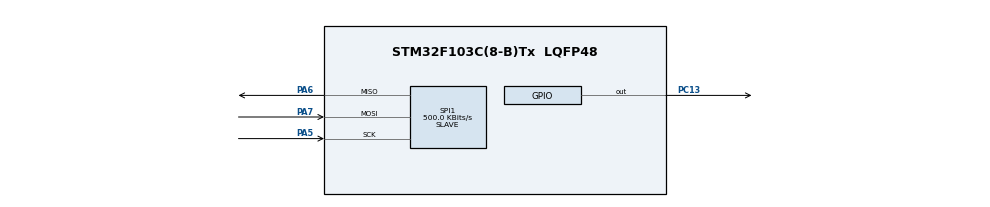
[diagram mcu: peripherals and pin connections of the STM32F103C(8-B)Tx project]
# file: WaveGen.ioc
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Mcu.Family=STM32F1
Mcu.Name=STM32F103C(8-B)Tx
Mcu.Package=LQFP48
NVIC.PriorityGroup=NVIC_PRIORITYGROUP_4
NVIC.TIM3_IRQn=true\:0\:0\:true\:false\:true
PA5.Mode=Full_Duplex_Slave
PA5.Signal=SPI1_SCK
PA6.Mode=Full_Duplex_Slave
PA6.Signal=SPI1_MISO
PA7.Mode=Full_Duplex_Slave
PA7.Signal=SPI1_MOSI
PC13-TAMPER-RTC.Signal=GPIO_Output
ProjectManager.HeapSize=0x200
ProjectManager.StackSize=0x400
ProjectManager.TargetToolchain=SW4STM32
RCC.APB1Freq_Value=8000000
RCC.APB2Freq_Value=8000000
SPI1.BaudRatePrescaler=SPI_BAUDRATEPRESCALER_16
SPI1.CalculateBaudRate=500.0 KBits/s
SPI1.Direction=SPI_DIRECTION_2LINES
SPI1.Mode=SPI_MODE_SLAVE
SPI1.VirtualType=VM_SLAVE
TIM3.Period=999
TIM3.Prescaler=159
TIM3.TIM_MasterOutputTrigger=TIM_TRGO_UPDATE
VP_SYS_VS_ND.Mode=No_Debug
VP_TIM3_VS_ClockSourceINT.Mode=Internal
board=WaveGen

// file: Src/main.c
/**
  ******************************************************************************
  * File Name          : main.c
  * Description        : Main program body
  ******************************************************************************
  ** This notice applies to any and all portions of this file
  * that are not between comment pairs USER CODE BEGIN and
  * USER CODE END. Other portions of this file, whether
  * inserted by the user or by software development tools
  * are owned by their respective copyright owners.
  *
  * COPYRIGHT(c) 2017 STMicroelectronics
  *
  * Redistribution and use in source and binary forms, with or without modification,
  * are permitted provided that the following conditions are met:
  *   1. Redistributions of source code must retain the above copyright notice,
  *      this list of conditions and the following disclaimer.
  *   2. Redistributions in binary form must reproduce the above copyright notice,
  *      this list of conditions and the following disclaimer in the documentation
  *      and/or other materials provided with the distribution.
  *   3. Neither the name of STMicroelectronics nor the names of its contributors
  *      may be used to endorse or promote products derived from this software
  *      without specific prior written permission.
  *
  * THIS SOFTWARE IS PROVIDED BY THE COPYRIGHT HOLDERS AND CONTRIBUTORS "AS IS"
  * AND ANY EXPRESS OR IMPLIED WARRANTIES, INCLUDING, BUT NOT LIMITED TO, THE
  * IMPLIED WARRANTIES OF MERCHANTABILITY AND FITNESS FOR A PARTICULAR PURPOSE ARE
  * DISCLAIMED. IN NO EVENT SHALL THE COPYRIGHT HOLDER OR CONTRIBUTORS BE LIABLE
  * FOR ANY DIRECT, INDIRECT, INCIDENTAL, SPECIAL, EXEMPLARY, OR CONSEQUENTIAL
  * DAMAGES (INCLUDING, BUT NOT LIMITED TO, PROCUREMENT OF SUBSTITUTE GOODS OR
  * SERVICES; LOSS OF USE, DATA, OR PROFITS; OR BUSINESS INTERRUPTION) HOWEVER
  * CAUSED AND ON ANY THEORY OF LIABILITY, WHETHER IN CONTRACT, STRICT LIABILITY,
  * OR TORT (INCLUDING NEGLIGENCE OR OTHERWISE) ARISING IN ANY WAY OUT OF THE USE
  * OF THIS SOFTWARE, EVEN IF ADVISED OF THE POSSIBILITY OF SUCH DAMAGE.
  *
  ******************************************************************************
  */
#include "main.h"
#include "stm32f1xx_hal.h"

/* USER CODE BEGIN Includes */
#include <stdlib.h>
#include <stdint.h>

#include <ringbuf.h>
#include <cmds.h>
/* USER CODE END Includes */

SPI_HandleTypeDef hspi1;

TIM_HandleTypeDef htim3;

/* USER CODE BEGIN PV */
/* Private variables ---------------------------------------------------------*/

/* USER CODE END PV */

void SystemClock_Config(void);
static void MX_GPIO_Init(void);
static void MX_TIM3_Init(void);
static void MX_SPI1_Init(void);

/* USER CODE BEGIN PFP */
/* Private function prototypes -----------------------------------------------*/

/* USER CODE END PFP */

/* USER CODE BEGIN 0 */
#define TIMEOUT 1000 // ms
#define BATCH_SIZE 16

// status codes
#define DEVICE_BUSY        0x00
#define SPI_ERROR          0x10
#define SPI_BUSY           0x11
#define COMMAND_ERROR      0x20
#define RINGBUF_ERROR      0x30
#define ALL_OK             0xFF

RingBuf ringbuf;

void errf_reset() {
  HAL_GPIO_WritePin(GPIOC, GPIO_PIN_13, 1);
}

void errf_set() {
  HAL_GPIO_WritePin(GPIOC, GPIO_PIN_13, 0);
}

void blink(uint8_t byte) {
    uint8_t i;
    for (i = 0; i < 8; ++i) {
        if ((byte >> i) & 1) {
            errf_set();
        } else {
            errf_reset();
        }
        HAL_Delay(100);
    }
    errf_reset();
}

uint32_t u32_load(const uint8_t *data) {
  return (data[0]<<24) | (data[1]<<16) | (data[2]<<8) | data[3];
}

void u32_store(uint8_t *data, uint32_t val) {
  data[0] = (val>>24) & 0xFF;
  data[1] = (val>>16) & 0xFF;
  data[2] = (val>>8) & 0xFF;
  data[3] = val & 0xFF;
}
/* USER CODE END 0 */

int main(void)
{

  /* MCU Configuration----------------------------------------------------------*/

  /* Reset of all peripherals, Initializes the Flash interface and the Systick. */
  HAL_Init();

  /* Configure the system clock */
  SystemClock_Config();

  /* Initialize all configured peripherals */
  MX_GPIO_Init();
  MX_TIM3_Init();
  MX_SPI1_Init();

  /* USER CODE BEGIN 2 */
  errf_reset();
  uint8_t txbuf[BATCH_SIZE] = {0,ALL_OK,0,0, 0,0,0,0};
  uint8_t rxbuf[BATCH_SIZE] = {0,0,0,0, 0,0,0,0};

  //ringbuf_init(&ringbuf, 0x1000);
  /* USER CODE END 2 */

  /* Infinite loop */
  /* USER CODE BEGIN WHILE */
  while (1)
  {
    HAL_StatusTypeDef st = HAL_OK;
    st = HAL_SPI_TransmitReceive(&hspi1, txbuf, rxbuf, BATCH_SIZE, TIMEOUT);
    if (st == HAL_OK) {
      //uint8_t cmd = rxbuf[0];
      /*
      if (cmd == CMD_NONE) {
        // do nothing
      } else if (cmd == CMD_MOVE) {
        st = ringbuf_push(&ringbuf, rxbuf, CMD_MOVE_SIZE + 1);
        if (st != 0) {
          txbuf[0] = RINGBUF_ERROR;
          errf_set();
          break;
        }
        uint8_t i;
        for(i = 0; i < 1; ++i) {
          blink(rxbuf[1+i]);
        }
      } else {
        txbuf[1] = COMMAND_ERROR;
        txbuf[2] = cmd;
        errf_set();
        break;
      }
      */
      txbuf[4] += 1;
      //u32_store(txbuf + 4, u32_load(txbuf + 4) + 1);
    } else if (st == HAL_TIMEOUT) {
      HAL_GPIO_TogglePin(GPIOC, GPIO_PIN_13);
      continue;
    } else {
      /*
      if (st == HAL_BUSY) {
        txbuf[1] = SPI_BUSY;
        errf_set();
      } else if (st == HAL_ERROR) {
        txbuf[1] = SPI_ERROR;
        errf_set();
      } else {
        errf_set();
      }
      */
      errf_set();
      break;
    }
  /* USER CODE END WHILE */

  /* USER CODE BEGIN 3 */

  }
  /*
  while (0) {
    HAL_SPI_Transmit(&hspi1, txbuf, BATCH_SIZE, 250);
    HAL_GPIO_TogglePin(GPIOC, GPIO_PIN_13);
  }
  */
  /* USER CODE END 3 */

}

/** System Clock Configuration
*/
void SystemClock_Config(void)
{

  RCC_OscInitTypeDef RCC_OscInitStruct;
  RCC_ClkInitTypeDef RCC_ClkInitStruct;

    /**Initializes the CPU, AHB and APB busses clocks
    */
  RCC_OscInitStruct.OscillatorType = RCC_OSCILLATORTYPE_HSI;
  RCC_OscInitStruct.HSIState = RCC_HSI_ON;
  RCC_OscInitStruct.HSICalibrationValue = 16;
  RCC_OscInitStruct.PLL.PLLState = RCC_PLL_NONE;
  if (HAL_RCC_OscConfig(&RCC_OscInitStruct) != HAL_OK)
  {
    _Error_Handler(__FILE__, __LINE__);
  }

    /**Initializes the CPU, AHB and APB busses clocks
    */
  RCC_ClkInitStruct.ClockType = RCC_CLOCKTYPE_HCLK|RCC_CLOCKTYPE_SYSCLK
                              |RCC_CLOCKTYPE_PCLK1|RCC_CLOCKTYPE_PCLK2;
  RCC_ClkInitStruct.SYSCLKSource = RCC_SYSCLKSOURCE_HSI;
  RCC_ClkInitStruct.AHBCLKDivider = RCC_SYSCLK_DIV1;
  RCC_ClkInitStruct.APB1CLKDivider = RCC_HCLK_DIV1;
  RCC_ClkInitStruct.APB2CLKDivider = RCC_HCLK_DIV1;

  if (HAL_RCC_ClockConfig(&RCC_ClkInitStruct, FLASH_LATENCY_0) != HAL_OK)
  {
    _Error_Handler(__FILE__, __LINE__);
  }

    /**Configure the Systick interrupt time
    */
  HAL_SYSTICK_Config(HAL_RCC_GetHCLKFreq()/1000);

    /**Configure the Systick
    */
  HAL_SYSTICK_CLKSourceConfig(SYSTICK_CLKSOURCE_HCLK);

  /* SysTick_IRQn interrupt configuration */
  HAL_NVIC_SetPriority(SysTick_IRQn, 0, 0);
}

/* SPI1 init function */
static void MX_SPI1_Init(void)
{

  hspi1.Instance = SPI1;
  hspi1.Init.Mode = SPI_MODE_SLAVE;
  hspi1.Init.Direction = SPI_DIRECTION_2LINES;
  hspi1.Init.DataSize = SPI_DATASIZE_8BIT;
  hspi1.Init.CLKPolarity = SPI_POLARITY_LOW;
  hspi1.Init.CLKPhase = SPI_PHASE_1EDGE;
  hspi1.Init.NSS = SPI_NSS_SOFT;
  hspi1.Init.BaudRatePrescaler = SPI_BAUDRATEPRESCALER_16;
  hspi1.Init.FirstBit = SPI_FIRSTBIT_MSB;
  hspi1.Init.TIMode = SPI_TIMODE_DISABLE;
  hspi1.Init.CRCCalculation = SPI_CRCCALCULATION_DISABLE;
  hspi1.Init.CRCPolynomial = 10;
  if (HAL_SPI_Init(&hspi1) != HAL_OK)
  {
    _Error_Handler(__FILE__, __LINE__);
  }

}

/* TIM3 init function */
static void MX_TIM3_Init(void)
{

  TIM_ClockConfigTypeDef sClockSourceConfig;
  TIM_MasterConfigTypeDef sMasterConfig;

  htim3.Instance = TIM3;
  htim3.Init.Prescaler = 159;
  htim3.Init.CounterMode = TIM_COUNTERMODE_UP;
  htim3.Init.Period = 999;
  htim3.Init.ClockDivision = TIM_CLOCKDIVISION_DIV1;
  htim3.Init.AutoReloadPreload = TIM_AUTORELOAD_PRELOAD_DISABLE;
  if (HAL_TIM_Base_Init(&htim3) != HAL_OK)
  {
    _Error_Handler(__FILE__, __LINE__);
  }

  sClockSourceConfig.ClockSource = TIM_CLOCKSOURCE_INTERNAL;
  if (HAL_TIM_ConfigClockSource(&htim3, &sClockSourceConfig) != HAL_OK)
  {
    _Error_Handler(__FILE__, __LINE__);
  }

  sMasterConfig.MasterOutputTrigger = TIM_TRGO_UPDATE;
  sMasterConfig.MasterSlaveMode = TIM_MASTERSLAVEMODE_DISABLE;
  if (HAL_TIMEx_MasterConfigSynchronization(&htim3, &sMasterConfig) != HAL_OK)
  {
    _Error_Handler(__FILE__, __LINE__);
  }

}

/** Configure pins as
        * Analog
        * Input
        * Output
        * EVENT_OUT
        * EXTI
*/
static void MX_GPIO_Init(void)
{

  GPIO_InitTypeDef GPIO_InitStruct;

  /* GPIO Ports Clock Enable */
  __HAL_RCC_GPIOC_CLK_ENABLE();
  __HAL_RCC_GPIOA_CLK_ENABLE();

  /*Configure GPIO pin Output Level */
  HAL_GPIO_WritePin(GPIOC, GPIO_PIN_13, GPIO_PIN_RESET);

  /*Configure GPIO pin : PC13 */
  GPIO_InitStruct.Pin = GPIO_PIN_13;
  GPIO_InitStruct.Mode = GPIO_MODE_OUTPUT_PP;
  GPIO_InitStruct.Speed = GPIO_SPEED_FREQ_LOW;
  HAL_GPIO_Init(GPIOC, &GPIO_InitStruct);

}

void _Error_Handler(char * file, int line)
{
  while(1)
  {
  }
}

/************************ (C) COPYRIGHT STMicroelectronics *****END OF FILE****/
